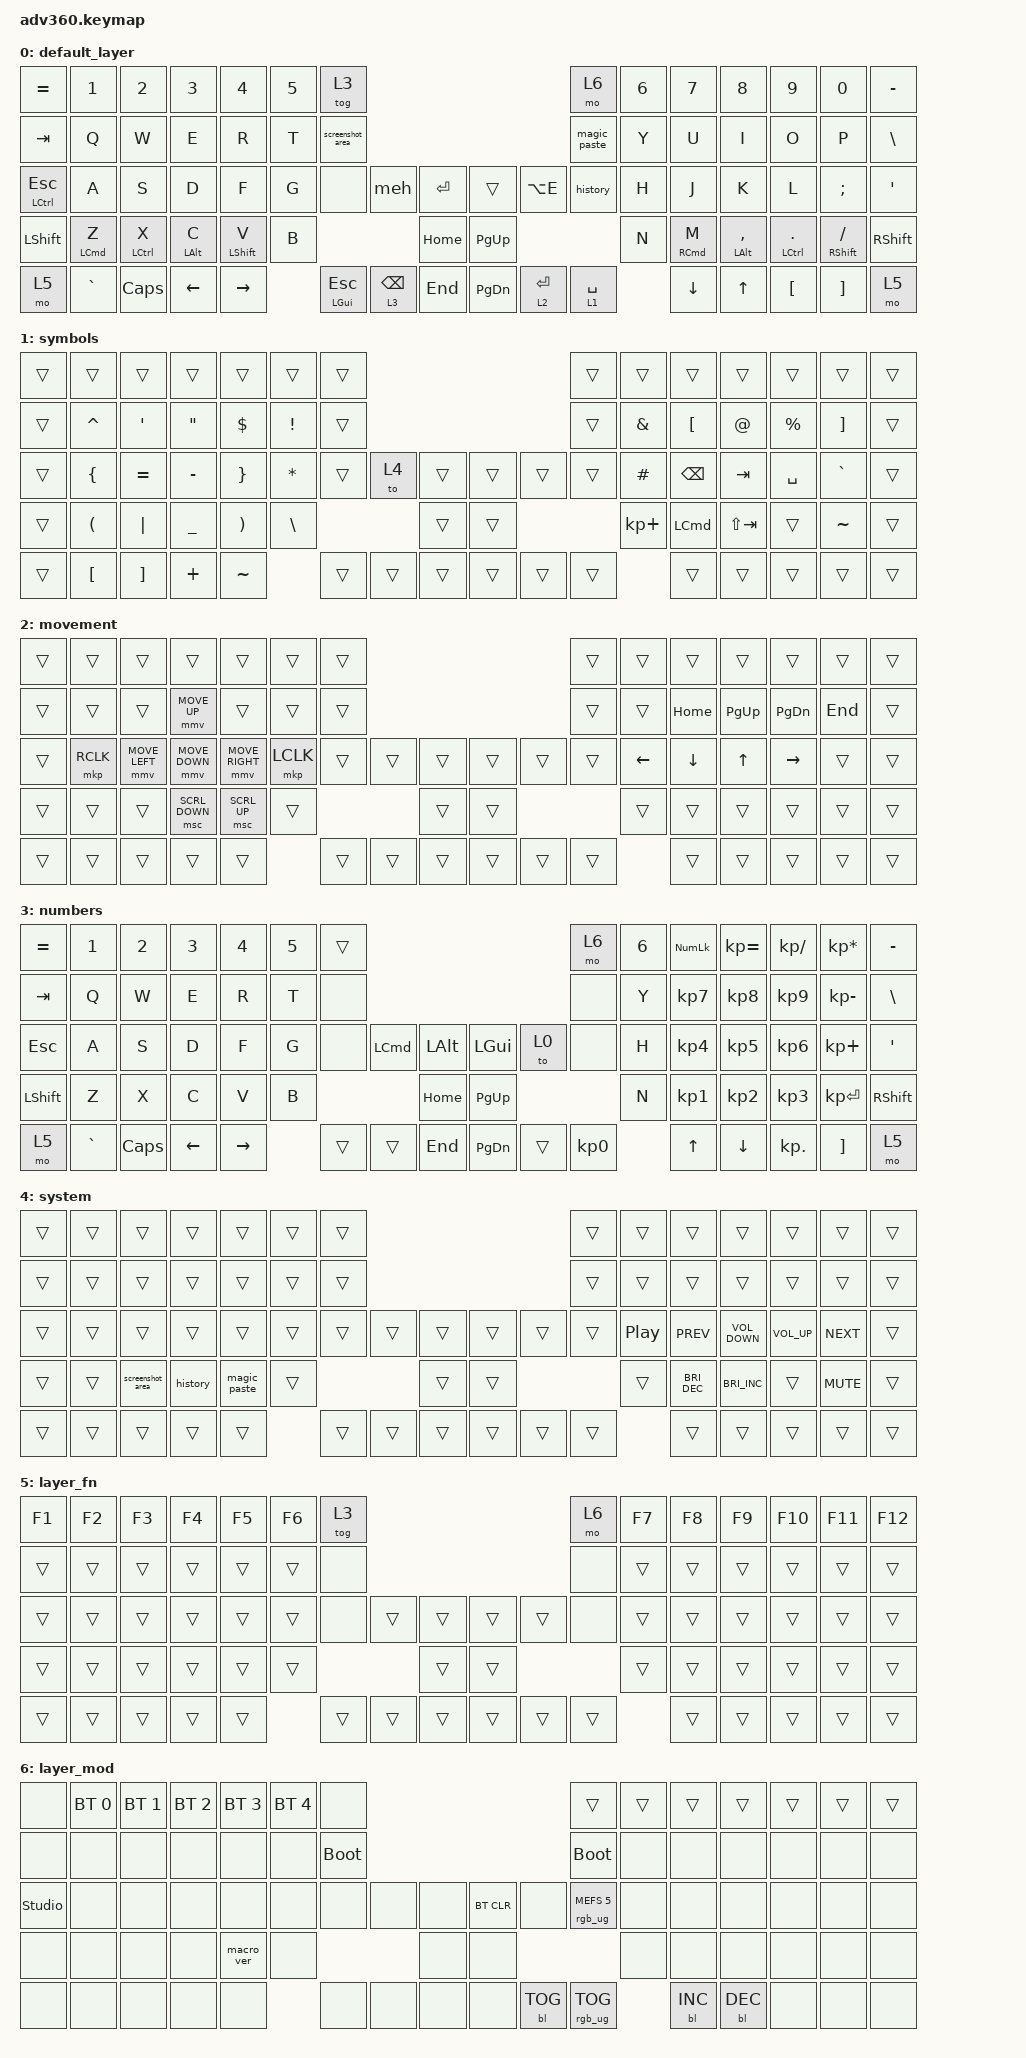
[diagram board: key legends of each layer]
/*
 * Copyright (c) 2020 The ZMK Contributors
 *
 * SPDX-License-Identifier: MIT
 */
/* THIS FILE WAS GENERATED!
 *
 * This file was generated automatically. You may or may not want to
 * edit it directly.
 */

#include <dt-bindings/zmk/stp.h>
#include <behaviors.dtsi>
#include <dt-bindings/zmk/backlight.h>
#include <dt-bindings/zmk/bt.h>
#include <dt-bindings/zmk/keys.h>
#include <dt-bindings/zmk/pointing.h>
#include <dt-bindings/zmk/rgb.h>

&lt { quick-tap-ms = <150>; };

&mt { quick-tap-ms = <125>; };

/ {
    behaviors {
        #include "macros.dtsi"
        #include "version.dtsi"

        hm: homerow_mods {
            compatible = "zmk,behavior-hold-tap";
            label = "HOMEROW_MODS";
            #binding-cells = <2>;
            tapping-term-ms = <150>;
            flavor = "tap-preferred";
            bindings = <&kp>, <&kp>;

            quick-tap-ms = <135>;
        };

        hml: hml {
            compatible = "zmk,behavior-hold-tap";
            label = "HML";
            bindings = <&kp>, <&kp>;

            #binding-cells = <2>;
            flavor = "balanced";
            require-prior-idle-ms = <0>;
            tapping-term-ms = <140>;
            quick-tap-ms = <135>;
            hold-trigger-key-positions = <54 55 56 57 58 44 25 24 23 22 40 41 42 43 26>;
            hold-trigger-on-release;
        };

        hmr: hmr {
            compatible = "zmk,behavior-hold-tap";
            label = "HMR";
            bindings = <&kp>, <&kp>;

            #binding-cells = <2>;
            tapping-term-ms = <130>;
            quick-tap-ms = <135>;
            require-prior-idle-ms = <0>;
            flavor = "balanced";
            hold-trigger-key-positions = <47 48 49 50 51 29 30 31 32 33 48 49 50 51 15 16 17 18 29 30 31 32 33 19>;
            hold-trigger-on-release;
        };
    };

    macros {
        history: history {
            compatible = "zmk,behavior-macro";
            #binding-cells = <0>;
            bindings = <&kp LG(LA(V))>;
            label = "HISTORY";
        };

        magic_paste: magic_paste {
            compatible = "zmk,behavior-macro";
            #binding-cells = <0>;
            bindings = <&kp LS(LA(LG(V)))>;
            label = "MAGIC_PASTE";
        };

        screenshot_area: screenshot_area {
            compatible = "zmk,behavior-macro";
            #binding-cells = <0>;
            bindings = <&kp LG(LS(LC(NUMBER_4)))>;
            label = "SCREENSHOT_AREA";
        };

        meh: meh {
            compatible = "zmk,behavior-macro";
            #binding-cells = <0>;
            bindings = <&sk LA(LC(LEFT_SHIFT))>;
            label = "MEH";
        };
    };

    keymap {
        compatible = "zmk,keymap";

        default_layer {
            bindings = <
&kp EQUAL             &kp NUMBER_1         &kp NUMBER_2         &kp N3       &kp N4             &kp N5  &tog 3                                                                       &mo 6         &kp N6  &kp N7                &kp N8           &kp N9                 &kp N0                 &kp MINUS
&kp TAB               &kp Q                &kp W                &kp E        &kp R              &kp T   &screenshot_area                                                             &magic_paste  &kp Y   &kp U                 &kp I            &kp O                  &kp P                  &kp BSLH
&mt LEFT_CONTROL ESC  &kp A                &kp S                &kp D        &kp F              &kp G   &none                &meh             &kp ENTER      &trans     &kp LA(E)    &history      &kp H   &kp J                 &kp K            &kp L                  &kp SEMICOLON          &kp SQT
&kp LSHFT             &hml LEFT_COMMAND Z  &hml LEFT_CONTROL X  &hml LALT C  &hml LEFT_SHIFT V  &kp B                                         &kp HOME       &kp PG_UP                             &kp N   &hmr RIGHT_COMMAND M  &hmr LALT COMMA  &hmr LEFT_CONTROL DOT  &hmr RIGHT_SHIFT FSLH  &kp RSHFT
&mo 5                 &kp GRAVE            &kp CAPSLOCK         &kp LEFT     &kp RIGHT                  &mt LEFT_GUI ESCAPE  &lt 3 BACKSPACE  &kp END        &kp PG_DN  &lt 2 ENTER  &lt 1 SPACE           &kp DOWN              &kp UP           &kp LBKT               &kp RBKT               &mo 5
            >;
        };

        symbols {
            bindings = <
&trans  &trans                &trans             &trans             &trans                 &trans         &trans                                      &trans  &trans         &trans            &trans       &trans       &trans             &trans
&trans  &kp CARET             &kp SINGLE_QUOTE   &kp DOUBLE_QUOTES  &kp DOLLAR             &kp EXCL       &trans                                      &trans  &kp AMPERSAND  &kp LEFT_BRACKET  &kp AT       &kp PERCENT  &kp RIGHT_BRACKET  &trans
&trans  &kp LEFT_BRACE        &kp EQUAL          &kp MINUS          &kp RIGHT_BRACE        &kp ASTERISK   &trans  &to 4   &trans      &trans  &trans  &trans  &kp POUND      &kp BACKSPACE     &kp TAB      &kp SPACE    &kp GRAVE          &trans
&trans  &kp LEFT_PARENTHESIS  &kp PIPE           &kp UNDERSCORE     &kp RIGHT_PARENTHESIS  &kp BACKSLASH                  &trans      &trans                  &kp KP_PLUS    &kp LEFT_COMMAND  &kp LS(TAB)  &trans       &kp TILDE          &trans
&trans  &kp LEFT_BRACKET      &kp RIGHT_BRACKET  &kp PLUS           &kp TILDE                             &trans  &trans  &trans      &trans  &trans  &trans                 &trans            &trans       &trans       &trans             &trans
            >;
        };

        movement {
            bindings = <
&trans  &trans     &trans          &trans          &trans           &trans     &trans                                      &trans  &trans          &trans          &trans        &trans           &trans   &trans
&trans  &trans     &trans          &mmv MOVE_UP    &trans           &trans     &trans                                      &trans  &trans          &kp HOME        &kp PAGE_UP   &kp PAGE_DOWN    &kp END  &trans
&trans  &mkp RCLK  &mmv MOVE_LEFT  &mmv MOVE_DOWN  &mmv MOVE_RIGHT  &mkp LCLK  &trans  &trans  &trans      &trans  &trans  &trans  &kp LEFT_ARROW  &kp DOWN_ARROW  &kp UP_ARROW  &kp RIGHT_ARROW  &trans   &trans
&trans  &trans     &trans          &msc SCRL_DOWN  &msc SCRL_UP     &trans                     &trans      &trans                  &trans          &trans          &trans        &trans           &trans   &trans
&trans  &trans     &trans          &trans          &trans                      &trans  &trans  &trans      &trans  &trans  &trans                  &trans          &trans        &trans           &trans   &trans
            >;
        };

        numbers {
            bindings = <
&kp EQUAL  &kp N1     &kp N2    &kp N3    &kp N4     &kp N5  &trans                                                     &mo 6      &kp N6  &kp KP_NUM  &kp KP_EQUAL  &kp KP_DIVIDE  &kp KP_MULTIPLY  &kp MINUS
&kp TAB    &kp Q      &kp W     &kp E     &kp R      &kp T   &none                                                      &none      &kp Y   &kp KP_N7   &kp KP_N8     &kp KP_N9      &kp KP_MINUS     &kp BSLH
&kp ESC    &kp A      &kp S     &kp D     &kp F      &kp G   &none   &kp LEFT_COMMAND  &kp LALT      &kp LGUI   &to 0   &none      &kp H   &kp KP_N4   &kp KP_N5     &kp KP_N6      &kp KP_PLUS      &kp SQT
&kp LSHFT  &kp Z      &kp X     &kp C     &kp V      &kp B                             &kp HOME      &kp PG_UP                     &kp N   &kp KP_N1   &kp KP_N2     &kp KP_N3      &kp KP_ENTER     &kp RSHFT
&mo 5      &kp GRAVE  &kp CAPS  &kp LEFT  &kp RIGHT          &trans  &trans            &kp END       &kp PG_DN  &trans  &kp KP_N0          &kp UP      &kp DOWN      &kp KP_DOT     &kp RBKT         &mo 5
            >;
        };

        system {
            bindings = <
&trans  &trans  &trans            &trans    &trans        &trans  &trans                                      &trans  &trans    &trans                &trans                &trans           &trans      &trans
&trans  &trans  &trans            &trans    &trans        &trans  &trans                                      &trans  &trans    &trans                &trans                &trans           &trans      &trans
&trans  &trans  &trans            &trans    &trans        &trans  &trans  &trans  &trans      &trans  &trans  &trans  &kp C_PP  &kp C_PREV            &kp C_VOLUME_DOWN     &kp C_VOLUME_UP  &kp C_NEXT  &trans
&trans  &trans  &screenshot_area  &history  &magic_paste  &trans                  &trans      &trans                  &trans    &kp C_BRIGHTNESS_DEC  &kp C_BRIGHTNESS_INC  &trans           &kp K_MUTE  &trans
&trans  &trans  &trans            &trans    &trans                &trans  &trans  &trans      &trans  &trans  &trans            &trans                &trans                &trans           &trans      &trans
            >;
        };

        layer_fn {
            bindings = <
&kp F1  &kp F2  &kp F3  &kp F4  &kp F5  &kp F6  &tog 3                                      &mo 6   &kp F7  &kp F8  &kp F9  &kp F10  &kp F11  &kp F12
&trans  &trans  &trans  &trans  &trans  &trans  &none                                       &none   &trans  &trans  &trans  &trans   &trans   &trans
&trans  &trans  &trans  &trans  &trans  &trans  &none   &trans  &trans      &trans  &trans  &none   &trans  &trans  &trans  &trans   &trans   &trans
&trans  &trans  &trans  &trans  &trans  &trans                  &trans      &trans                  &trans  &trans  &trans  &trans   &trans   &trans
&trans  &trans  &trans  &trans  &trans          &trans  &trans  &trans      &trans  &trans  &trans          &trans  &trans  &trans   &trans   &trans
            >;
        };

        layer_mod {
            bindings = <
&none           &bt BT_SEL 0  &bt BT_SEL 1  &bt BT_SEL 2  &bt BT_SEL 3  &bt BT_SEL 4  &none                                                  &trans                  &trans  &trans      &trans      &trans  &trans  &trans
&none           &none         &none         &none         &none         &none         &bootloader                                            &bootloader             &none   &none       &none       &none   &none   &none
&studio_unlock  &none         &none         &none         &none         &none         &none        &none  &none      &bt BT_CLR  &none       &rgb_ug RGB_MEFS_CMD 5  &none   &none       &none       &none   &none   &none
&none           &none         &none         &none         &macro_ver    &none                             &none      &none                                           &none   &none       &none       &none   &none   &none
&none           &none         &none         &none         &none                       &none        &none  &none      &none       &bl BL_TOG  &rgb_ug RGB_TOG                 &bl BL_INC  &bl BL_DEC  &none   &none   &none
            >;
        };
    };

    conditional_layers {
        compatible = "zmk,conditional-layers";

        system {
            if-layers = <3 2>;
            then-layer = <4>;
        };
    };
};
